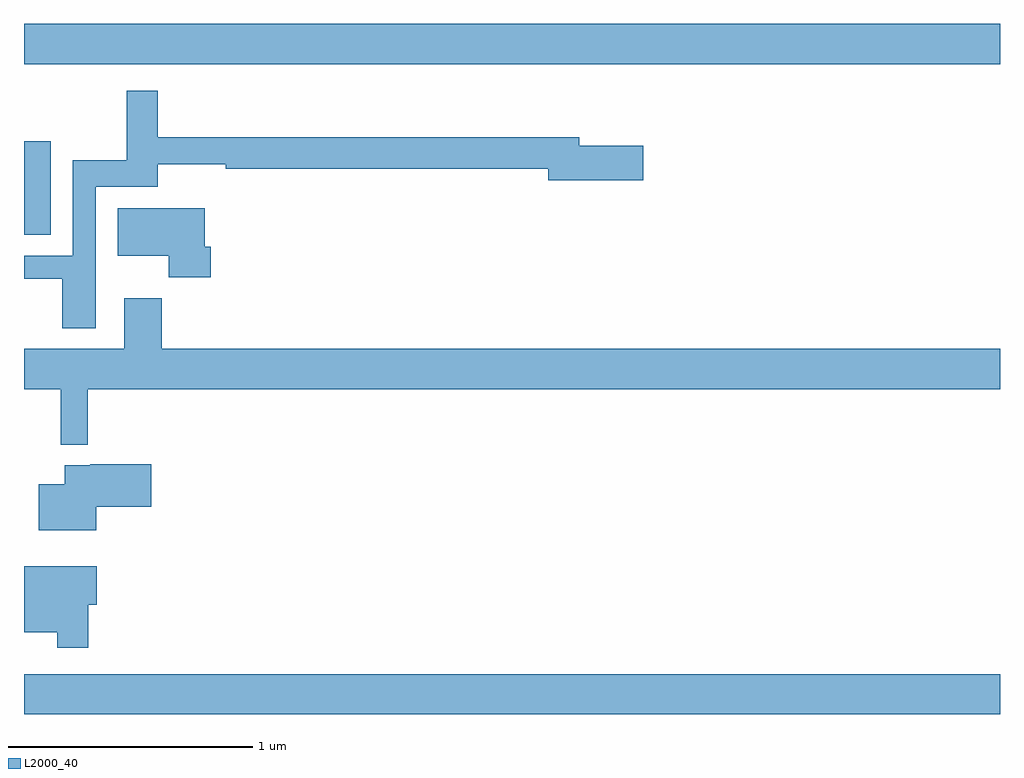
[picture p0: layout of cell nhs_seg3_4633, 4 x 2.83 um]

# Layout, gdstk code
import gdstk
lib = gdstk.Library(unit=1e-6, precision=1e-09)
def R(c, l, rs):  # rectangles x0, y0, x1, y1
    for r in rs: c.add(gdstk.rectangle(r[:2], r[2:], *l))
def P(c, l, *ps):  # polygons
    for p in ps: c.add(gdstk.Polygon(p, *l))
L2000_40 = (2000, 40)

nhs_seg3_4633 = lib.new_cell('nhs_seg3_4633')
R(nhs_seg3_4633, L2000_40, [(359,719.564,363,719.728), (359,721.528,359.11,721.912), (359,722.228,363,722.392)])
P(nhs_seg3_4633, L2000_40, [(359.295,721.725),(359.549,721.725),(359.549,721.817),(359.826,721.817),(359.826,721.798),(361.148,721.798),(361.148,721.751),(361.537,721.751),(361.537,721.893),(361.276,721.893),(361.276,721.927),(359.549,721.927),(359.549,722.119),(359.421,722.119),(359.421,721.834),(359.199,721.834),(359.199,721.443),(359,721.443),(359,721.347),(359.156,721.347),(359.156,721.146),(359.295,721.146)],
  [(359.765,721.479),(359.74,721.479),(359.74,721.636),(359.384,721.636),(359.384,721.442),(359.594,721.442),(359.594,721.354),(359.765,721.354)],
  [(363,721.06),(359.564,721.06),(359.564,721.267),(359.411,721.267),(359.411,721.06),(359,721.06),(359,720.896),(359.15,720.896),(359.15,720.668),(359.262,720.668),(359.262,720.896),(363,720.896)],
  [(359.296,720.413),(359.521,720.413),(359.521,720.588),(359.272,720.588),(359.272,720.583),(359.168,720.583),(359.168,720.505),(359.06,720.505),(359.06,720.317),(359.296,720.317)],
  [(359.264,720.011),(359.299,720.011),(359.299,720.169),(359,720.169),(359,719.9),(359.136,719.9),(359.136,719.835),(359.264,719.835)])

lib.write_gds('nhs_seg3_4633.gds')
